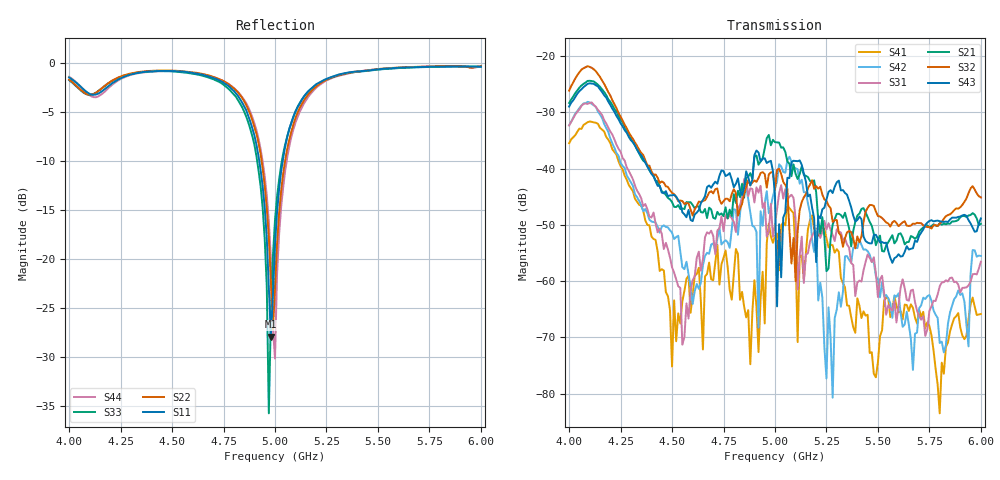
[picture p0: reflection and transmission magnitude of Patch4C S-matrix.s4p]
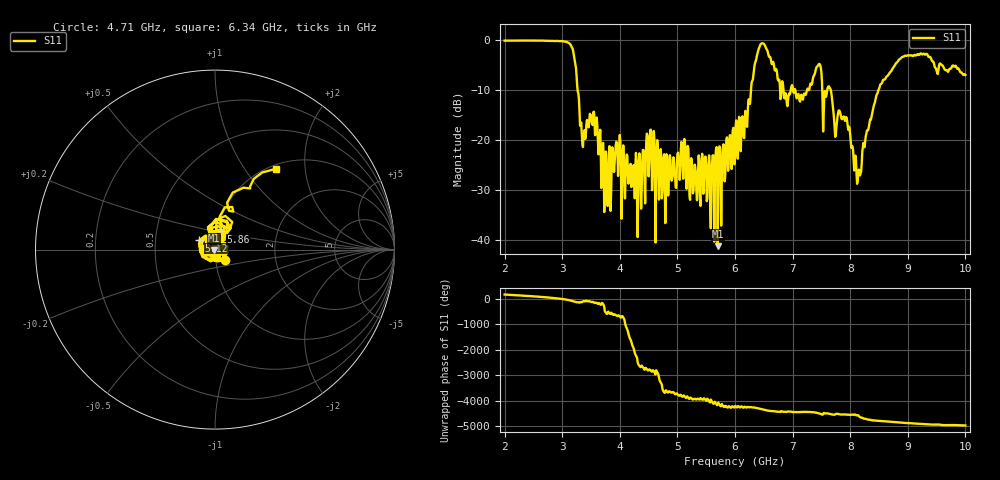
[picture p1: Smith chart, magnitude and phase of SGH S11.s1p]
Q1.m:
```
%Q1
%% Reading s4p reflection coeff and mutual coupling of array
Nport = 4;
FileName = 'N:\MASTERS\Quarter 3\Antenna Systems\Matlab\data\Patch4C S-matrix.s4p';
[S4,Nport4,Frequencies]=readsp2(FileName,Nport);

%% Reading SGH S11 parameter

Nport = 1;
FileName = 'N:\MASTERS\Quarter 3\Antenna Systems\Matlab\data\SGH S11.s1p';
[SGH,Nport1,FrequenciesSGH]=readsp2(FileName,Nport);

%% Calculating impedance and plotting

%Impedances of the patch
%Assume Z0 as 50 Ohm
Z0 = 50;
%Calculating impedances
Zl = zeros([4, size(Frequencies, 2)]);

for ind = 1:4
    Zl(ind,:) = Z0.*(1 + squeeze(S4(:,ind,ind))) ...
        ./(1 - squeeze(S4(:,ind,ind)));
    %Plot reflection coeff
    name = ['S', num2str(ind), num2str(ind)];
    nameZ = ['Real(Zin',num2str(ind), ')'];
    nameZi = ['Imag(Zin',num2str(ind), ')'];
    figure(1);
    plot(Frequencies(1,:)./10^9, mag2db(squeeze(abs(S4(:,ind,ind)))), 'DisplayName', name, 'LineWidth', 1.5); hold on;
    figure(2);
    plot(Frequencies(1,:)./10^9, ((real(Zl(ind,:)))), 'DisplayName', nameZ, 'LineWidth', 1.5); hold on;
    figure(3);
    plot(Frequencies(1,:)./10^9, ((imag(Zl(ind,:)))), 'DisplayName', nameZi, 'LineWidth', 1.5); hold on;
end

%Beautifyin the figures
figure(1);
hold off;
legend show;
title('Return Loss of Antenna Array Elements');
xlabel('Frequencies (in GHz)');
ylabel('Reflection Coefficients (in dB)');

figure(2);
hold off;
legend show;
title('Real Part of Input Impedance of Antenna Array Elements');
xlabel('Frequencies (in GHz)');
ylabel('Input Impedance (in Ohm)');
%ylim([-100, 500])

figure(3);
hold off;
legend show;
title('Imaginary Part of Input Impedance of Antenna Array Elements');
xlabel('Frequencies (in GHz)');
ylabel('Input Impedance (in Ohm)');
%ylim([-300, 500])

%Impedances of the SGH
ZlSGH = Z0.*(1 + (SGH)./(1 - (SGH)));

%Plotting S11, realZ and imagZ for SGH
figure(4);
plot(FrequenciesSGH(1,:)./10^9, mag2db(squeeze(abs(SGH))),'LineWidth', 1.5);
%title('Reflection Coefficient of SGH');
title('Return Loss of SGH');
xlabel('Frequencies (in GHz)');
ylabel('Reflection Coefficient (in dB)');

%Real part of horn antennas
figure(5);
plot(FrequenciesSGH(1,:)./10^9, ((real(ZlSGH))), 'LineWidth', 1.5);
title('Real Part of Input Impedance of SGH');
xlabel('Frequencies (in GHz)');
ylabel('Input Impedance (in Ohm)');

%Imaginary part of the horn antennas
figure(6);
plot(FrequenciesSGH(1,:)./10^9, ((imag(ZlSGH))), 'LineWidth', 1.5);
title('Imag Part of Input Impedance of SGH');
xlabel('Frequencies (in GHz)');
ylabel('Input Impedance (in Ohm)');

%% Coupling between the elements

%S4 = smoothdata(S4);
for ind = 1:4
    for indj = 1:4
        if(ind == indj)
            continue;
        else
            figure(ind+6);
            name = ['S', num2str(ind), num2str(indj)]; 
            plot(Frequencies(1,:)./10^9, pow2db(squeeze(abs(S4(:,ind,indj)))), 'DisplayName', name, 'LineWidth', 1.5); hold on; 
        end
    end
end

%Beautifying the figures
figure(7);
hold off;
legend show;
title('Mutual Coupling Between Elements S11 to S14');
xlabel('Frequency (in GHz)');
ylabel('Sij in dB');

figure(8);
hold off;
legend show;
title('Mutual Coupling Between Elements S21 to S24');
xlabel('Frequency (in GHz)');
ylabel('Sij in dB');

figure(9);
hold off;
legend show;
title('Mutual Coupling Between Elements S31 to S34');
xlabel('Frequency (in GHz)');
ylabel('Sij in dB');

figure(10);
hold off;
legend show;
title('Mutual Coupling Between Elements S41 to S44');
xlabel('Frequency (in GHz)');
ylabel('Sij in dB');


%% Scanning angle and active reflection coefficient

%Resonant frequency
freq = 5e9;

%Scanning angles
drad = pi/180;
th = eps:15*drad:60*drad;
thd = 0:15:60;

%Calculate initial phase shift
c = 3e8;
lam = c/freq;
d = 0.06; %Distance between arraty elements is 6 cm
beta = -2.*pi.*d./lam.*sin(th);
%beta = [0 0 0 0 0];
%betaMesh = meshgrid(beta, beta);

%Define active reflectio coefficient matrix
%S = zeros([4, size(Frequencies, 2)]);
%Alternate S-parameter matrix to calculate active impedance
S4a = zeros(size(S4));
for ind = 1:size(S4, 2)
    S4a(:,ind,:) = [S4(:,ind,ind) squeeze(S4(:,ind,1:ind-1))...
        squeeze(S4(:,ind,ind+1:size(S4,3)))];
end

%Caculating the active impedance
ZinA = zeros([size(Frequencies, 2) size(beta, 2) size(S4a, 2)]);

%ReqMat is the active S11 matrix
reqMat = zeros([size(Frequencies, 2) size(beta, 2) size(S4a, 2)]);

for ind = 1:size(beta, 2)
    N = meshgrid(0:size(S4a,3)-1, 0:size(S4a,3)-1);
    Nb = 1j.*N.*beta(ind);
    for indj = 1:size(S4a,1)
        reqMat1 = sum(exp(Nb).*squeeze(S4a(indj,:,:)), 2);
        reqMat(indj, ind, :) = sum(exp(Nb).*squeeze(S4a(indj,:,:)), 2);
        ZinA(indj, ind, :) = Z0.*(1+reqMat1)./(1-reqMat1);
    end
end 

%Plotting
for ind = 1:4
    figure(ind);
    plot(Frequencies(1,:)./10^9, mag2db((abs(reqMat(:,1,ind)))), 'LineWidth', 1.5, 'DisplayName', "Active-0 deg"); hold on;
    plot(Frequencies(1,:)./10^9, mag2db((abs(reqMat(:,2,ind)))), 'LineWidth', 1.5, 'DisplayName', "Active-15 deg"); hold on;
    plot(Frequencies(1,:)./10^9, mag2db((abs(reqMat(:,3,ind)))), 'LineWidth', 1.5, 'DisplayName', "Active-30 deg"); hold on;
    plot(Frequencies(1,:)./10^9, mag2db((abs(reqMat(:,4,ind)))), 'LineWidth', 1.5, 'DisplayName', "Active-45 deg"); hold on;
    plot(Frequencies(1,:)./10^9, mag2db((abs(reqMat(:,5,ind)))), 'LineWidth', 1.5, 'DisplayName', "Active-60 deg"); hold on;
    plot(Frequencies(1,:)./10^9, mag2db((abs(S4(:,ind,ind)))), 'LineWidth', 1.5, 'DisplayName', "Passive");
    
    title(['Active and Passive reflection coefficients, S', num2str(ind), num2str(ind)]);
    xlabel('Frequency (in GHz)');
    ylabel('Sii (Active and Passive) in dB');
    legend show;
end

%% Q2 Gain and raditaion pattern

%Gain of the patch vs. frequency Combined
%Reading S21 of the SGH
Nport = 2;
FileName = 'N:\MASTERS\Quarter 3\Antenna Systems\Matlab\data\CBand SGH transfer - R apertures 3.27m.s2p';
[S21,Nport2,Frequencies21]=readsp2(FileName,Nport);

%Frequency center (Assume 5GHz)
%freq = 5e9;

%Power calculation PSGH
%idx = find(Frequencies21 == 5e9);
PSGH = mag2db(abs(S21(:,2,1)));

%Gain calculation Using the manual
G = 5.0195 + 4.2742.*(Frequencies21./10^9) - 0.3062.*(Frequencies21./10^9).^2;

%Gain in dB
Gdb = pow2db(G);

%Gain of the patch at 0 deg
%load data
figure(1)
for ind = 1:4
    load(['N:\MASTERS\Quarter 3\Antenna Systems\Matlab\data\Patch', num2str(ind),'_HCO.mat']);
    PAUT = mag2db(abs(CpxData((positions == thd(1)),:)));
    GAUT = Gdb - PSGH' + PAUT;
    name =['Gpatch', num2str(1)];
    plot(frequencies(:,1)./10^9, GAUT(1,:), 'LineWidth', 1.5, 'DisplayName', name); hold on;
end

load(['N:\MASTERS\Quarter 3\Antenna Systems\Matlab\data\Combined_HCO.mat']);
PAUT = mag2db(abs(CpxData((positions == thd(1)),:)));
GAUT = Gdb - PSGH' + PAUT;

%Gain of the SGH
% figure(12);
% plot(Frequencies21(1,:), Gdb(1,:));
% title('Gain (in dB) Vs. Frequency Plot of SGH');
% xlabel('Frequency (in GHz)');
% ylabel('Gain in (dB)');

%Combined gain of the patches
figure(1);
hold off;
legend show;
title('Gain (in dB) Vs. Frequency Plot of Patch, Scan Angle = 0 deg');
xlabel('Frequency (in GHz)');
ylabel('Gain in (dB)');

%% Individual gains of the patches

for ind = 1:4
    FileName = strcat('N:\MASTERS\Quarter 3\Antenna Systems\Matlab\data\Patch',num2str(ind),'_HCO.mat');
    load(FileName);
    PAUT = mag2db(abs(CpxData((positions == thd(1)),:)));
    GAUT_ind = Gdb - PSGH' + PAUT;
    figure(13+ind);
    plot(frequencies(:,1), GAUT_ind(1,:));
    title(strcat('Gain (in dB) Patch', num2str(2), 'Vs. Frequency Plot, \theta = 0'));
    xlabel('Frequency (in GHz)');
    ylabel('Gain in (dB)');    
end

%% Comparing with the theory

%Gain of single element
%load('N:\MASTERS\Quarter 3\Antenna Systems\Matlab\data\PatchC_SingleElmnt_HCO_Y-140.mat');
load('N:\MASTERS\Quarter 3\Antenna Systems\Matlab\data\Patch3_HCO.mat');
PAUT = mag2db(abs(CpxData((positions == thd(1)),:)));

GAUT_single = Gdb - PSGH' + PAUT;

k = 2.*pi.*frequencies./c;
AF = zeros([size(th, 2) size(frequencies, 1)]);
Narray = 4;

%AF Calculations
for ind = 1:size(beta, 2)
    Psi=k.*d.*sin(th(ind))+beta(ind);
    AF(ind, :) =(1/Narray).*sin((Narray/2).*Psi)./sin((1/2).*Psi);    
end

%At position 0; Theoretical gain
Gt = GAUT_single + mag2db(AF(1, :));

%Plotting the comparison
figure(18);
plot(frequencies(:,1)./(10^9), GAUT(1,:), 'LineWidth', 1.5); hold on;
plot(frequencies(:,1)./(10^9), Gt(1,:), 'LineWidth', 1.5);
title('Theoretical and Practical Gain value comparison, Scan Angle = 0 deg');
xlabel('Frequency (in GHz)');
ylabel('Gain in (dB)');
legend('Practical', 'Theoretical');

%% Embedded pattern

%Load all the files
for ind = 1:4
    FileName = strcat('N:\MASTERS\Quarter 3\Antenna Systems\Matlab\data\Patch',num2str(ind),'_HCO.mat');
    temp_var = strcat('patch_',num2str(ind));
    Pattern.(temp_var) = load(FileName);
end

%For different beta, Array pattern calculation
S21array = zeros([size(Pattern.patch_1.CpxData) size(beta, 2)]);
% 
% for ind = 1:size(beta, 2)
%     S21array(:,ind) = (Pattern.patch_1.CpxData((Pattern.patch_1.positions == thd(ind)), :) ...
%         + Pattern.patch_2.CpxData((Pattern.patch_2.positions == thd(ind)), :).*exp(1j*beta(ind)) ...
%         + Pattern.patch_3.CpxData((Pattern.patch_3.positions == thd(ind)), :).*exp(2j*beta(ind)) ...
%         + Pattern.patch_4.CpxData((Pattern.patch_4.positions == thd(ind)), :).*exp(3j*beta(ind)))';
%     figure(18+ind);
%     plot(Pattern.patch_1.frequencies(:,1)./(10^9), mag2db(abs(S21array(:,ind))), 'LineWidth', 1.5);
%     %title('Array Pattern of Patch' + num2str(ind));
%     xlabel('Frequencies (in GHz)');
%     ylabel('Array Pattern (in dB)');
% end
%load('N:\MASTERS\Quarter 3\Antenna Systems\Matlab\data\PatchC_SingleElmnt_HCO_Y-140.mat');
load('N:\MASTERS\Quarter 3\Antenna Systems\Matlab\data\Combined_HCO.mat');
%Plotting with respect to theta
for ind = 1:size(beta, 2)
    S21array(:,:,ind) = (Pattern.patch_1.CpxData ...
        + Pattern.patch_2.CpxData.*exp(1j*beta(ind)) ...
        + Pattern.patch_3.CpxData.*exp(2j*beta(ind)) ...
        + Pattern.patch_4.CpxData.*exp(3j*beta(ind)));
    AF_Req = AFcode(freq, th(ind), 0.06);
    
    figure(18+ind);
    plot(Pattern.patch_1.positions(:,1), mag2db(abs(S21array(:,(Pattern.patch_2.frequencies == freq),ind))), 'LineWidth', 1.5); hold on;
    plot(positions(:,1), mag2db((abs(CpxData(:,101)))),'LineWidth',1.5);
    %plot(ASingle.positions, mag2db((abs(test(:,1)))),'LineWidth',1.5);
    title(['Array Pattern Theory and Practical, scan angle',num2str(thd(ind))]);
    xlabel('\theta (in deg)');
    ylabel('Array Pattern (in dB)');
    legend('Computed', 'Combined');
    ylim([-60, -10]);
end

%% Plotting embedded patterns

figure(24);
%freq = 5.8e9;
for ind = 1:4
    temp_var = strcat('patch_',num2str(ind));
    %figure(23+ind);
    name = ['Patch_', num2str(ind)];
    plot(Pattern.patch_1.positions(:,1), mag2db(abs(Pattern.(temp_var).CpxData(:,(Pattern.patch_2.frequencies == freq)))), 'DisplayName', name, 'LineWidth', 1.5); hold on;
    %title('Array Pattern of Patch' + num2str(ind));
end
singleElem = load('N:\MASTERS\Quarter 3\Antenna Systems\Matlab\data\PatchC_SingleElmnt_HCO_Y-140.mat');
name = ['Single Element'];
plot(singleElem.positions(:,1), mag2db(abs(singleElem.CpxData(:,(singleElem.frequencies == freq)))), 'DisplayName', name, 'LineWidth', 1.5);
title('Emdedded pattern of each element and single element, freq = 5GHz');
xlabel('\theta (deg)');
ylabel('Array Pattern (in dB)');
hold off;
legend show;

%% AF calculation and comparison with combined pattern

%Theroy array pattern
%APth = zeros([size(singleElem.CpxData, 1)]);

%k0 = 2.*pi.*freq./c;
%AFreq = zeros([size(size(singleElem.CpxData, 1))]);
%beta_dash = -2.*pi.*d.*freq./c.*sin(singleElem.positions);
%Psi_dash  = k0.*d.*sin(singleElem.positions);
%AF_req = (1/Narray).*sin((Narray/2).*Psi_dash)./sin((1/2).*Psi_dash);
%Narray = 4;

Pattern_Req = zeros([size(singleElem.CpxData) size(AF, 1)]);

for ind = 1:size(AF, 1)
    for indj = 1:size(Pattern_Req, 1)
        Pattern_Req(indj,:,ind) = (AF(ind, :).*singleElem.CpxData(indj,:));
    end
    disp(AF(ind,1));
end

plot(singleElem.positions(:,1), mag2db(abs(Pattern_Req(:,singleElem.frequencies == freq,5))), ...
    'LineWidth', 1.5); hold on;
plot(singleElem.positions(:,1), mag2db(abs(singleElem.CpxData(:,singleElem.frequencies == freq))), ...
    'LineWidth', 1.5); 
title('Array Pattern Theory vs. Practical, \theta = 0, freq = 5 GHz');
xlabel('\theta');
ylabel('Array pattern (in dB)');
legend('1', '2');
```
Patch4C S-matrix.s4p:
!Keysight Technologies,N5227A,US51270384,A.10.49.03
!Date: Wednesday, March 04, 2020 16:34:26
!Correction: S11(Full 4 Port(1,2,3,4))
!S12(Full 4 Port(1,2,3,4))
!S13(Full 4 Port(1,2,3,4))
!S14(Full 4 Port(1,2,3,4))
!S21(Full 4 Port(1,2,3,4))
!S22(Full 4 Port(1,2,3,4))
!S23(Full 4 Port(1,2,3,4))
!S24(Full 4 Port(1,2,3,4))
!S31(Full 4 Port(1,2,3,4))
!S32(Full 4 Port(1,2,3,4))
!S33(Full 4 Port(1,2,3,4))
!S34(Full 4 Port(1,2,3,4))
!S41(Full 4 Port(1,2,3,4))
!S42(Full 4 Port(1,2,3,4))
!S43(Full 4 Port(1,2,3,4))
!S44(Full 4 Port(1,2,3,4))
!S4P File: Measurements: <S11,S12,S13,S14>,
!<S21,S22,S23,S24>,
!<S31,S32,S33,S34>,
!<S41,S42,S43,S44>:
# Hz S  RI  R 50
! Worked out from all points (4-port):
!   201 points, 4 GHz to 6 GHz, reference 50 ohm
!   strongest paths, dB at 4 GHz, 4.5 GHz, 5 GHz, 5.5 GHz, 6 GHz:
!     S43: -29.0, -44.8, -44.9, -52.4, -48.9
!     S32: -26.2, -44.3, -43.8, -48.4, -45.1
!     S21: -28.4, -46.0, -35.3, -52.5, -49.8
!     S31: -32.4, -57.6, -50.0, -62.8, -56.5
!     S42: -32.3, -51.4, -43.5, -59.8, -55.5
!     S41: -35.5, -75.2, -52.0, -74.4, -65.8
!   lowest |S11| = -27.9 dB at 4.98 GHz (marker M1), VSWR 1.08, Z = 53.2 + j2.61 ohm
!   |S11| at or under -10 dB: 4.924 GHz to 5.037 GHz (113.8 MHz wide, 2.28 % of centre)
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4e9  0.6851 -0.4983  -0.00892 -0.0371  0.0167 -0.0174  0.0162 0.00411
     -0.00898 -0.0372  0.6051 -0.5626  -0.00473 -0.0489  0.0178 -0.0165
     0.0167 -0.0173  -0.00472 -0.0489  0.5254 -0.6304  -0.00924 -0.0342
     0.0162 0.00425  0.0177 -0.0166  -0.00912 -0.0343  0.7416 -0.4222
4.98e9  0.0319 0.0245  0.01 -0.0126  -0.000741 -0.00483  -0.00143 -0.00227
        0.01 -0.0126  0.0751 -0.0176  0.00212 -0.00896  0.00352 -0.00282
        -0.000694 -0.00482  0.00219 -0.00898  -0.0355 0.0353  -0.0048 -0.011
        -0.00113 -0.00222  0.00357 -0.00296  -0.00471 -0.0107  0.0847 -0.0545
6e9  0.9473 -0.1507  -0.00319 -0.000454  -0.001 0.00108  -7.19e-05 0.00051
     -0.00319 -0.000453  0.9605 -0.0823  -0.00543 0.00112  -0.00144 0.000918
     -0.00102 0.00109  -0.00543 0.00114  0.9346 -0.2311  -0.00349 -0.000839
     -7.19e-05 0.000506  -0.00138 0.000946  -0.00351 -0.00086  0.9558 -0.1054
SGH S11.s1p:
!Keysight Technologies,N5227A,US51270384,A.10.49.03
!Date: Tuesday, March 27, 2018 13:03:27
!Correction: S11(Full 1 Port(1))
!S1P File: Measurement: S11:
# Hz S  RI  R 50
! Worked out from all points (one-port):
!   801 points, 2 GHz to 10 GHz, reference 50 ohm
!   lowest |S11| = -41.3 dB at 5.7 GHz (marker M1), VSWR 1.02, Z = 49.2 - j0.337 ohm
!   |S11| at or under -10 dB: 3.268 GHz to 6.278 GHz (3.01 GHz wide, 63.1 % of centre); 7.046 GHz to 7.251 GHz (204.8 MHz wide, 2.86 % of centre); 7.663 GHz to 8.49 GHz (827.2 MHz wide, 10.2 % of centre)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
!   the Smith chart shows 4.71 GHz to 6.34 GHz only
!   S11 on the Smith chart (normalised r, x): 4.71 GHz: 1.11, -0.13; 5.12 GHz: 0.83, +0.09; 5.86 GHz: 1.05, +0.21; 6.34 GHz: 1.07, +1.41
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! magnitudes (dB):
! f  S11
! 2 GHz  -0.1
! 3.14 GHz  -0.8
! 3.34 GHz  -18.8
! 3.76 GHz  -22.3
! 4.67 GHz  -26.1
! 4.71 GHz  -21.8
! 5.12 GHz  -19.8
! 5.7 GHz  -41.3
! 5.86 GHz  -19.5
! 6.34 GHz  -5.0
! 7.34 GHz  -8.6
! 8.15 GHz  -25.9
! 8.87 GHz  -3.7
! 10 GHz  -7.0
